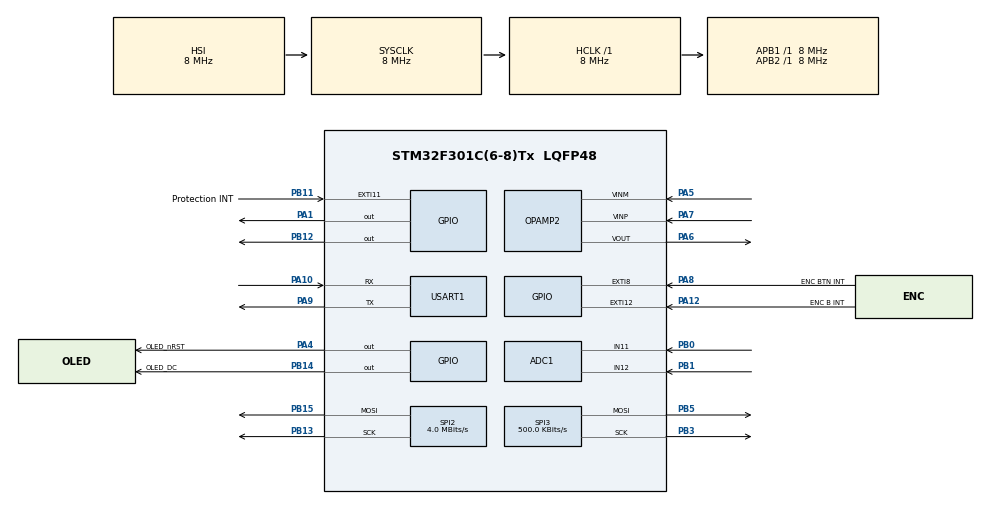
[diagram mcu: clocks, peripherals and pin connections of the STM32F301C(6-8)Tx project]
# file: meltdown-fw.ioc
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ADC1.Channel-0\#ChannelRegularConversion=ADC_CHANNEL_11
ADC1.NbrOfConversionFlag=1
ADC1.Offset-0\#ChannelRegularConversion=0
ADC1.OffsetNumber-0\#ChannelRegularConversion=ADC_OFFSET_NONE
ADC1.Rank-0\#ChannelRegularConversion=1
ADC1.SamplingTime-0\#ChannelRegularConversion=ADC_SAMPLETIME_1CYCLE_5
ADC1.SubFamily=STM32F301x8
ADC1.master=1
Mcu.Family=STM32F3
Mcu.Name=STM32F301C(6-8)Tx
Mcu.Package=LQFP48
NVIC.PriorityGroup=NVIC_PRIORITYGROUP_4
PA1.Signal=GPIO_Output
PA10.Mode=Asynchronous
PA10.Signal=USART1_RX
PA12.GPIO_Label=ENC B INT
PA12.Signal=GPXTI12
PA4.GPIO_Label=OLED_nRST
PA4.Signal=GPIO_Output
PA5.Mode=PGA Connected
PA5.Signal=OPAMP2_VINM
PA6.Mode=PGA Connected
PA6.Signal=OPAMP2_VOUT
PA7.Mode=PGA Connected
PA7.Signal=OPAMP2_VINP
PA8.GPIO_Label=ENC BTN INT
PA8.Signal=GPXTI8
PA9.Mode=Asynchronous
PA9.Signal=USART1_TX
PB0.Mode=IN11-Single-Ended
PB0.Signal=ADC1_IN11
PB1.Mode=IN12-Single-Ended
PB1.Signal=ADC1_IN12
PB11.GPIO_Label=Protection INT
PB11.Signal=GPXTI11
PB12.Signal=GPIO_Output
PB13.Mode=TX_Only_Simplex_Unidirect_Master
PB13.Signal=SPI2_SCK
PB14.GPIO_Label=OLED_DC
PB14.Signal=GPIO_Output
PB15.Mode=TX_Only_Simplex_Unidirect_Master
PB15.Signal=SPI2_MOSI
PB3.Mode=TX_Only_Simplex_Unidirect_Master
PB3.Signal=SPI3_SCK
PB5.Mode=TX_Only_Simplex_Unidirect_Master
PB5.Signal=SPI3_MOSI
PF0-OSC_IN.Mode=HSE-External-Oscillator
PF0-OSC_IN.Signal=RCC_OSC_IN
PF1-OSC_OUT.Mode=HSE-External-Oscillator
PF1-OSC_OUT.Signal=RCC_OSC_OUT
ProjectManager.HeapSize=0x200
ProjectManager.StackSize=0x400
ProjectManager.TargetToolchain=STM32CubeIDE
RCC.AHBFreq_Value=8000000
RCC.APB1Freq_Value=8000000
RCC.APB2Freq_Value=8000000
RCC.CortexFreq_Value=8000000
RCC.HSE_VALUE=8000000
RCC.HSI_VALUE=8000000
RCC.LSE_VALUE=32768
RCC.PLLMUL=RCC_PLL_MUL4
RCC.SYSCLKFreq_VALUE=8000000
SPI2.BaudRatePrescaler=SPI_BAUDRATEPRESCALER_2
SPI2.CalculateBaudRate=4.0 MBits/s
SPI2.DataSize=SPI_DATASIZE_8BIT
SPI2.Direction=SPI_DIRECTION_2LINES
SPI2.FirstBit=SPI_FIRSTBIT_MSB
SPI2.Mode=SPI_MODE_MASTER
SPI2.VirtualType=VM_MASTER
SPI3.BaudRatePrescaler=SPI_BAUDRATEPRESCALER_16
SPI3.CalculateBaudRate=500.0 KBits/s
SPI3.DataSize=SPI_DATASIZE_8BIT
SPI3.Direction=SPI_DIRECTION_2LINES
SPI3.FirstBit=SPI_FIRSTBIT_LSB
SPI3.Mode=SPI_MODE_MASTER
SPI3.VirtualType=VM_MASTER
USART1.VirtualMode-Asynchronous=VM_ASYNC
board=custom

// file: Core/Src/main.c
/* USER CODE BEGIN Header */
/**
  ******************************************************************************
  * @file           : main.c
  * @brief          : Main program body
  ******************************************************************************
  * @attention
  *
  * Copyright (c) 2023 STMicroelectronics.
  * All rights reserved.
  *
  * This software is licensed under terms that can be found in the LICENSE file
  * in the root directory of this software component.
  * If no LICENSE file comes with this software, it is provided AS-IS.
  *
  ******************************************************************************
  */
/* USER CODE END Header */
#include "main.h"

/* USER CODE BEGIN PD */
#define SPI_DC_PORT		(GPIOB)
#define SPI_DC_PIN		(GPIO_PIN_14)

#define SPI_RST_PORT	(GPIOA)
#define SPI_RST_PIN		(GPIO_PIN_4)
/* USER CODE END PD */

ADC_HandleTypeDef hadc1;

OPAMP_HandleTypeDef hopamp2;

SPI_HandleTypeDef hspi2;
SPI_HandleTypeDef hspi3;

UART_HandleTypeDef huart1;

/* USER CODE BEGIN PV */
unsigned char jc_logo[] = {
	0x00, 0x00, 0x00, 0x00, 0x00, 0x00, 0x00, 0x1f, 0xf8, 0x00, 0x00, 0x00, 0x00, 0x00, 0x00, 0x00, 0x00, 0x00, 0x00,
	0x00, 0x00, 0x00, 0x03, 0xff, 0xff, 0xc0, 0x00, 0x00, 0x00, 0x00, 0x00, 0x00, 0x00, 0x00, 0x00, 0x00, 0x00, 0x00,
	0x1f, 0xff, 0xff, 0xf0, 0x00, 0x00, 0x00, 0x00, 0x00, 0x00, 0x00, 0x00, 0x00, 0x00, 0x00, 0x00, 0x7f, 0xe0, 0x07,
	0xfe, 0x00, 0x00, 0x00, 0x00, 0x00, 0x00, 0x00, 0x00, 0x00, 0x00, 0x00, 0x00, 0xfe, 0x00, 0x00, 0x7f, 0x00, 0x00,
	0x00, 0x00, 0x00, 0x00, 0x00, 0x00, 0x00, 0x00, 0x00, 0x03, 0xf0, 0x00, 0x00, 0x0f, 0xc0, 0x00, 0x00, 0x00, 0x00,
	0x00, 0x00, 0x00, 0x00, 0x00, 0x00, 0x07, 0xc0, 0x00, 0x00, 0x03, 0xe0, 0x00, 0x00, 0x00, 0x00, 0x00, 0x00, 0x00,
	0x00, 0x00, 0x00, 0x1f, 0x80, 0x00, 0x00, 0x01, 0xf8, 0x00, 0x00, 0x00, 0x00, 0x00, 0x00, 0x00, 0x00, 0x00, 0x00,
	0x3e, 0x00, 0x00, 0x1f, 0x00, 0x7c, 0x00, 0x00, 0x00, 0x00, 0x00, 0x00, 0x00, 0x00, 0x00, 0x00, 0x7c, 0x00, 0x00,
	0x1f, 0x00, 0x3e, 0x00, 0x00, 0x00, 0x00, 0x00, 0x00, 0x00, 0x00, 0x00, 0x00, 0xf8, 0x00, 0x00, 0x1f, 0x00, 0x1f,
	0x00, 0x00, 0x00, 0x00, 0x00, 0x00, 0x00, 0x00, 0x00, 0x01, 0xf0, 0x00, 0x00, 0x1f, 0x00, 0x0f, 0x80, 0x00, 0x00,
	0x00, 0x00, 0x00, 0x00, 0x00, 0x00, 0x01, 0xe0, 0x00, 0x00, 0x1f, 0x00, 0x07, 0x80, 0x00, 0x00, 0x00, 0x00, 0x00,
	0x00, 0x00, 0x00, 0x03, 0xc0, 0x00, 0x00, 0x1f, 0x00, 0x03, 0xc0, 0x00, 0x00, 0x00, 0x00, 0x00, 0x00, 0x00, 0x00,
	0x07, 0x80, 0x00, 0x00, 0x1f, 0x00, 0x01, 0xe0, 0x00, 0x00, 0x00, 0x00, 0x00, 0x00, 0x00, 0x00, 0x07, 0x00, 0x00,
	0x00, 0x1f, 0x00, 0x00, 0xe0, 0x00, 0x00, 0x00, 0x00, 0x00, 0x00, 0x00, 0x00, 0x0f, 0x00, 0x00, 0x00, 0x1f, 0x00,
	0x00, 0xf0, 0x00, 0x00, 0x00, 0x00, 0x00, 0x00, 0x00, 0x00, 0x1e, 0x00, 0x00, 0x00, 0x1f, 0x00, 0x00, 0x78, 0x00,
	0x00, 0x00, 0x00, 0x00, 0x00, 0x00, 0x00, 0x1c, 0x00, 0x00, 0x00, 0x1f, 0x00, 0x00, 0x38, 0x00, 0x00, 0x00, 0x00,
	0x00, 0x00, 0x00, 0x00, 0x3c, 0x00, 0x00, 0x00, 0x1f, 0x00, 0x00, 0x38, 0x00, 0x00, 0x00, 0x00, 0x00, 0x00, 0x00,
	0x00, 0x38, 0x00, 0x00, 0x00, 0x1f, 0x00, 0x00, 0x3c, 0x00, 0x00, 0x00, 0x00, 0x00, 0x00, 0x00, 0x00, 0x38, 0x00,
	0x00, 0x00, 0x1f, 0x00, 0x00, 0x1c, 0x00, 0x00, 0x00, 0x00, 0x00, 0x00, 0x00, 0x00, 0x78, 0x00, 0x00, 0x00, 0x1e, 0x00, 0x00, 0x1e, 0x00, 0x00, 0x00, 0x00, 0x00, 0x00, 0x00, 0x00, 0x70, 0x00, 0x00, 0x00, 0x00, 0x00, 0x00, 0x0e, 0x00, 0x00, 0x00, 0x00, 0x00, 0x00, 0x00, 0x00, 0x70, 0x00, 0x00, 0x00, 0x00, 0x00, 0x00, 0x0e, 0x00, 0x00, 0x00, 0x00, 0x00, 0x00, 0x00, 0x00, 0x70, 0x00, 0x00, 0x1f, 0xff, 0xff, 0xff, 0x0e, 0x00, 0x00, 0x00, 0x00, 0x00, 0x00, 0x00, 0x00, 0x70, 0x00, 0x00, 0x3f, 0xff, 0xff, 0xff,
	0x0f, 0x00, 0x00, 0x00, 0x00, 0x00, 0x00, 0x00, 0x00, 0xe0, 0x00, 0x00, 0x7f, 0xff, 0xff, 0xff, 0x07, 0x00, 0x00, 0x00, 0x00, 0x00, 0x00, 0x00, 0x00, 0xe0, 0x00, 0x00, 0x7f, 0xff, 0xff, 0xff, 0x07, 0x00, 0x00, 0x00, 0x00, 0x00, 0x00, 0x00, 0x00, 0xe0, 0x00, 0x00, 0x7c, 0x00, 0x00, 0x00, 0x07, 0x00, 0x00, 0x00, 0x00, 0x00, 0x00, 0x00, 0x00, 0xe0, 0x00, 0x00, 0x78, 0x00, 0x00, 0x00, 0x07, 0x00, 0x00, 0x00, 0x00, 0x00, 0x00, 0x00, 0x00, 0xe0, 0xf8, 0x00, 0x78, 0x1f, 0x00, 0x00, 0x07, 0x00, 0x00, 0x00, 0x00, 0x00, 0x00, 0x00, 0x00, 0xe0, 0xf8, 0x00, 0x78, 0x1f, 0x00, 0x00, 0x07, 0x00, 0x00, 0x00, 0x00, 0x00, 0x00, 0x00, 0x00, 0xe0, 0xf8, 0x00, 0x00, 0x1f, 0x00, 0x00, 0x07, 0x00, 0x00, 0x00, 0x00, 0x00, 0x00, 0x00, 0x00, 0xe0, 0xf8, 0x00, 0x00, 0x3f, 0x00, 0x00, 0x07, 0x00, 0x00, 0x00, 0x00, 0x00, 0x00, 0x00, 0x00, 0xe0, 0xff, 0xff, 0xff, 0xfe, 0x00, 0x00, 0x07, 0x00, 0x00, 0x00, 0x00, 0x00, 0x00, 0x00, 0x00, 0xe0, 0x7f, 0xff, 0xff, 0xfe, 0x00, 0x00, 0x07, 0x00, 0x00, 0x00, 0x00, 0x00, 0x00, 0x00, 0x00, 0x70, 0x7f, 0xff, 0xff, 0xfc, 0x00, 0x00, 0x0f, 0x00, 0x00, 0x00, 0x00, 0x00, 0x00, 0x00, 0x00, 0x70, 0x3f, 0xff, 0xff, 0xf8, 0x00, 0x00, 0x0e, 0x00, 0x00, 0x00, 0x00, 0x00, 0x00, 0x00, 0x00,
	0x70, 0x07, 0xff, 0xff, 0xc0, 0x00, 0x00, 0x0e, 0x00, 0x00, 0x00, 0x00, 0x00, 0x00, 0x00, 0x00, 0x70, 0x00, 0x00, 0x00, 0x00, 0x00, 0x00, 0x0e, 0x00, 0x00, 0x00, 0x00, 0x00, 0x00, 0x00, 0x00, 0x78, 0x00, 0x00, 0x78, 0x00, 0x00, 0x00, 0x1e, 0x00, 0x00, 0x00, 0x00, 0x00, 0x00, 0x00, 0x00, 0x38, 0x00, 0x00, 0x78, 0x00, 0x00, 0x00, 0x1c, 0x00, 0x00, 0x00, 0x00, 0x00, 0x00, 0x00, 0x00, 0x38, 0x00, 0x00, 0x78, 0x00, 0x00, 0x00, 0x3c, 0x00, 0x00, 0x00, 0x00, 0x00, 0x00, 0x00, 0x00, 0x1c, 0x00, 0x00, 0x78, 0x00, 0x00, 0x00, 0x38, 0x00, 0x00, 0x00, 0x00, 0x00, 0x00, 0x00, 0x00, 0x1c, 0x00, 0x00, 0x78, 0x00, 0x00, 0x00, 0x38, 0x00, 0x00, 0x00, 0x00, 0x00, 0x00, 0x00, 0x00, 0x1e, 0x00, 0x00, 0x78, 0x00, 0x00, 0x00, 0x78, 0x00, 0x00, 0x00, 0x00, 0x00, 0x00, 0x00, 0x00, 0x0f, 0x00, 0x00, 0x78, 0x00, 0x00, 0x00, 0xf0, 0x00, 0x00, 0x00, 0x00, 0x00, 0x00, 0x00, 0x00, 0x07, 0x00, 0x00, 0x78, 0x00, 0x00, 0x00, 0xe0, 0x00, 0x00, 0x00, 0x00, 0x00, 0x00, 0x00, 0x00, 0x07, 0x80, 0x00, 0x78, 0x00, 0x00, 0x00, 0xe0, 0x00, 0x00, 0x00, 0x00, 0x00, 0x00, 0x00, 0x00, 0x03, 0xc0, 0x00, 0x78, 0x00, 0x00, 0x00, 0x00, 0x00, 0x00, 0x00, 0x00, 0x00, 0x00, 0x00, 0x00, 0x01, 0xe0, 0x00, 0x7f, 0xff, 0xff, 0xff, 0x00, 0x00,
	0x00, 0x00, 0x00, 0x00, 0x00, 0x00, 0x00, 0x01, 0xf0, 0x00, 0x7f, 0xff, 0xff, 0xff, 0x00, 0x00, 0x00, 0x00, 0x00, 0x00, 0x00, 0x00, 0x00, 0x00, 0xf8, 0x00, 0x3f, 0xff, 0xff, 0xff, 0x00, 0x00, 0x00, 0x00, 0x00, 0x00, 0x00, 0x00, 0x00, 0x00, 0x7c, 0x00, 0x3f, 0xff, 0xff, 0xff, 0x00, 0x00, 0x00, 0x00, 0x00, 0x00, 0x00, 0x00, 0x00, 0x00, 0x3e, 0x00, 0x0f, 0xff, 0xff, 0xff, 0x00, 0x00, 0x00, 0x00, 0x00, 0x00, 0x00, 0x00, 0x00, 0x00, 0x1f, 0x80, 0x00, 0x00, 0x00, 0x00, 0x00, 0x00, 0x00, 0x00, 0x00, 0x00, 0x00, 0x00, 0x00, 0x00, 0x07, 0xc0, 0x00, 0x00, 0x00, 0x00, 0x00, 0x00, 0x00, 0x00, 0x00, 0x00, 0x00, 0x00, 0x00, 0x00, 0x03, 0xf8, 0x00, 0x00, 0x1f, 0xc0, 0x00, 0x00, 0x00, 0x00, 0x00, 0x00, 0x00, 0x00, 0x00, 0x00, 0x00, 0xfe, 0x00, 0x00, 0x7f, 0x00, 0x00, 0x00, 0x00, 0x00, 0x00, 0x00, 0x00, 0x00, 0x00, 0x00, 0x00, 0x7f, 0xe0, 0x07, 0xfe, 0x00, 0x00, 0x00, 0x00, 0x00, 0x00, 0x00, 0x00, 0x00, 0x00, 0x00, 0x00, 0x0f, 0xff, 0xff, 0xf0, 0x00, 0x00, 0x00, 0x00, 0x00, 0x00, 0x00, 0x00, 0x00, 0x00, 0x00, 0x00, 0x03, 0xff, 0xff, 0xc0, 0x00, 0x00, 0x00, 0x00, 0x00, 0x00, 0x00, 0x00, 0x00, 0x00, 0x00, 0x00, 0x00, 0x3f, 0xfc, 0x00, 0x00, 0x00, 0x00, 0x00, 0x00, 0x00

};

void displayInit();
void clearDisplay(void);
void displayArray12864(const unsigned char arr[]);
void setRow(unsigned char yStart, unsigned char yEnd);
void setColumn(unsigned char xStart, unsigned char xEnd);

void spiWriteCmd(uint8_t val);
void spiWriteData(uint8_t val);
/* USER CODE END PV */

void SystemClock_Config(void);
static void MX_GPIO_Init(void);
static void MX_ADC1_Init(void);
static void MX_OPAMP2_Init(void);
static void MX_SPI2_Init(void);
static void MX_USART1_UART_Init(void);
static void MX_SPI3_Init(void);

int main(void)
{

  /* MCU Configuration--------------------------------------------------------*/

  /* Reset of all peripherals, Initializes the Flash interface and the Systick. */
  HAL_Init();

  /* Configure the system clock */
  SystemClock_Config();

  /* Initialize all configured peripherals */
  MX_GPIO_Init();
  MX_ADC1_Init();
  MX_OPAMP2_Init();
  MX_SPI2_Init();
  MX_USART1_UART_Init();
  MX_SPI3_Init();
  /* USER CODE BEGIN 2 */

  HAL_GPIO_WritePin(GPIOB, GPIO_PIN_12, GPIO_PIN_SET);
  displayInit();
  clearDisplay();

  HAL_Delay(100);

  displayArray12864(jc_logo);
  /* USER CODE END 2 */

  /* Infinite loop */
  while (1)
  {

    /* USER CODE BEGIN 3 */
	  HAL_GPIO_TogglePin(GPIOA, GPIO_PIN_1);
	  HAL_Delay(500);
  }
  /* USER CODE END 3 */
}

void SystemClock_Config(void)
{
  RCC_OscInitTypeDef RCC_OscInitStruct = {0};
  RCC_ClkInitTypeDef RCC_ClkInitStruct = {0};
  RCC_PeriphCLKInitTypeDef PeriphClkInit = {0};

  /** Initializes the RCC Oscillators according to the specified parameters
  * in the RCC_OscInitTypeDef structure.
  */
  RCC_OscInitStruct.OscillatorType = RCC_OSCILLATORTYPE_HSI;
  RCC_OscInitStruct.HSIState = RCC_HSI_ON;
  RCC_OscInitStruct.HSICalibrationValue = RCC_HSICALIBRATION_DEFAULT;
  RCC_OscInitStruct.PLL.PLLState = RCC_PLL_ON;
  RCC_OscInitStruct.PLL.PLLSource = RCC_PLLSOURCE_HSI;
  RCC_OscInitStruct.PLL.PLLMUL = RCC_PLL_MUL4;
  if (HAL_RCC_OscConfig(&RCC_OscInitStruct) != HAL_OK)
  {
    Error_Handler();
  }

  /** Initializes the CPU, AHB and APB buses clocks
  */
  RCC_ClkInitStruct.ClockType = RCC_CLOCKTYPE_HCLK|RCC_CLOCKTYPE_SYSCLK
                              |RCC_CLOCKTYPE_PCLK1|RCC_CLOCKTYPE_PCLK2;
  RCC_ClkInitStruct.SYSCLKSource = RCC_SYSCLKSOURCE_HSI;
  RCC_ClkInitStruct.AHBCLKDivider = RCC_SYSCLK_DIV1;
  RCC_ClkInitStruct.APB1CLKDivider = RCC_HCLK_DIV1;
  RCC_ClkInitStruct.APB2CLKDivider = RCC_HCLK_DIV1;

  if (HAL_RCC_ClockConfig(&RCC_ClkInitStruct, FLASH_LATENCY_0) != HAL_OK)
  {
    Error_Handler();
  }
  PeriphClkInit.PeriphClockSelection = RCC_PERIPHCLK_USART1|RCC_PERIPHCLK_ADC1;
  PeriphClkInit.Usart1ClockSelection = RCC_USART1CLKSOURCE_PCLK1;
  PeriphClkInit.Adc1ClockSelection = RCC_ADC1PLLCLK_DIV1;

  if (HAL_RCCEx_PeriphCLKConfig(&PeriphClkInit) != HAL_OK)
  {
    Error_Handler();
  }
}

static void MX_ADC1_Init(void)
{

  ADC_ChannelConfTypeDef sConfig = {0};

  /** Common config
  */
  hadc1.Instance = ADC1;
  hadc1.Init.ClockPrescaler = ADC_CLOCK_ASYNC_DIV1;
  hadc1.Init.Resolution = ADC_RESOLUTION_12B;
  hadc1.Init.ScanConvMode = ADC_SCAN_DISABLE;
  hadc1.Init.ContinuousConvMode = DISABLE;
  hadc1.Init.DiscontinuousConvMode = DISABLE;
  hadc1.Init.ExternalTrigConvEdge = ADC_EXTERNALTRIGCONVEDGE_NONE;
  hadc1.Init.ExternalTrigConv = ADC_SOFTWARE_START;
  hadc1.Init.DataAlign = ADC_DATAALIGN_RIGHT;
  hadc1.Init.NbrOfConversion = 1;
  hadc1.Init.DMAContinuousRequests = DISABLE;
  hadc1.Init.EOCSelection = ADC_EOC_SINGLE_CONV;
  hadc1.Init.LowPowerAutoWait = DISABLE;
  hadc1.Init.Overrun = ADC_OVR_DATA_OVERWRITTEN;
  if (HAL_ADC_Init(&hadc1) != HAL_OK)
  {
    Error_Handler();
  }

  /** Configure Regular Channel
  */
  sConfig.Channel = ADC_CHANNEL_11;
  sConfig.Rank = ADC_REGULAR_RANK_1;
  sConfig.SingleDiff = ADC_SINGLE_ENDED;
  sConfig.SamplingTime = ADC_SAMPLETIME_1CYCLE_5;
  sConfig.OffsetNumber = ADC_OFFSET_NONE;
  sConfig.Offset = 0;
  if (HAL_ADC_ConfigChannel(&hadc1, &sConfig) != HAL_OK)
  {
    Error_Handler();
  }

}

static void MX_OPAMP2_Init(void)
{

  hopamp2.Instance = OPAMP2;
  hopamp2.Init.Mode = OPAMP_PGA_MODE;
  hopamp2.Init.NonInvertingInput = OPAMP_NONINVERTINGINPUT_IO0;
  hopamp2.Init.TimerControlledMuxmode = OPAMP_TIMERCONTROLLEDMUXMODE_DISABLE;
  hopamp2.Init.PgaConnect = OPAMP_PGA_CONNECT_INVERTINGINPUT_IO1;
  hopamp2.Init.PgaGain = OPAMP_PGA_GAIN_2;
  hopamp2.Init.UserTrimming = OPAMP_TRIMMING_FACTORY;
  if (HAL_OPAMP_Init(&hopamp2) != HAL_OK)
  {
    Error_Handler();
  }

}

static void MX_SPI2_Init(void)
{

  /* SPI2 parameter configuration*/
  hspi2.Instance = SPI2;
  hspi2.Init.Mode = SPI_MODE_MASTER;
  hspi2.Init.Direction = SPI_DIRECTION_2LINES;
  hspi2.Init.DataSize = SPI_DATASIZE_8BIT;
  hspi2.Init.CLKPolarity = SPI_POLARITY_LOW;
  hspi2.Init.CLKPhase = SPI_PHASE_1EDGE;
  hspi2.Init.NSS = SPI_NSS_SOFT;
  hspi2.Init.BaudRatePrescaler = SPI_BAUDRATEPRESCALER_2;
  hspi2.Init.FirstBit = SPI_FIRSTBIT_MSB;
  hspi2.Init.TIMode = SPI_TIMODE_DISABLE;
  hspi2.Init.CRCCalculation = SPI_CRCCALCULATION_DISABLE;
  hspi2.Init.CRCPolynomial = 7;
  hspi2.Init.CRCLength = SPI_CRC_LENGTH_DATASIZE;
  hspi2.Init.NSSPMode = SPI_NSS_PULSE_ENABLE;
  if (HAL_SPI_Init(&hspi2) != HAL_OK)
  {
    Error_Handler();
  }

}

static void MX_SPI3_Init(void)
{

  /* SPI3 parameter configuration*/
  hspi3.Instance = SPI3;
  hspi3.Init.Mode = SPI_MODE_MASTER;
  hspi3.Init.Direction = SPI_DIRECTION_2LINES;
  hspi3.Init.DataSize = SPI_DATASIZE_8BIT;
  hspi3.Init.CLKPolarity = SPI_POLARITY_LOW;
  hspi3.Init.CLKPhase = SPI_PHASE_1EDGE;
  hspi3.Init.NSS = SPI_NSS_SOFT;
  hspi3.Init.BaudRatePrescaler = SPI_BAUDRATEPRESCALER_16;
  hspi3.Init.FirstBit = SPI_FIRSTBIT_LSB;
  hspi3.Init.TIMode = SPI_TIMODE_DISABLE;
  hspi3.Init.CRCCalculation = SPI_CRCCALCULATION_DISABLE;
  hspi3.Init.CRCPolynomial = 7;
  hspi3.Init.CRCLength = SPI_CRC_LENGTH_DATASIZE;
  hspi3.Init.NSSPMode = SPI_NSS_PULSE_ENABLE;
  if (HAL_SPI_Init(&hspi3) != HAL_OK)
  {
    Error_Handler();
  }

}

static void MX_USART1_UART_Init(void)
{

  huart1.Instance = USART1;
  huart1.Init.BaudRate = 38400;
  huart1.Init.WordLength = UART_WORDLENGTH_8B;
  huart1.Init.StopBits = UART_STOPBITS_1;
  huart1.Init.Parity = UART_PARITY_NONE;
  huart1.Init.Mode = UART_MODE_TX_RX;
  huart1.Init.HwFlowCtl = UART_HWCONTROL_NONE;
  huart1.Init.OverSampling = UART_OVERSAMPLING_16;
  huart1.Init.OneBitSampling = UART_ONE_BIT_SAMPLE_DISABLE;
  huart1.AdvancedInit.AdvFeatureInit = UART_ADVFEATURE_NO_INIT;
  if (HAL_UART_Init(&huart1) != HAL_OK)
  {
    Error_Handler();
  }

}

static void MX_GPIO_Init(void)
{
  GPIO_InitTypeDef GPIO_InitStruct = {0};

  /* GPIO Ports Clock Enable */
  __HAL_RCC_GPIOF_CLK_ENABLE();
  __HAL_RCC_GPIOA_CLK_ENABLE();
  __HAL_RCC_GPIOB_CLK_ENABLE();

  /*Configure GPIO pin Output Level */
  HAL_GPIO_WritePin(GPIOA, GPIO_PIN_1|OLED_nRST_Pin, GPIO_PIN_RESET);

  /*Configure GPIO pin Output Level */
  HAL_GPIO_WritePin(GPIOB, GPIO_PIN_12|OLED_DC_Pin, GPIO_PIN_RESET);

  /*Configure GPIO pins : PA1 OLED_nRST_Pin */
  GPIO_InitStruct.Pin = GPIO_PIN_1|OLED_nRST_Pin;
  GPIO_InitStruct.Mode = GPIO_MODE_OUTPUT_PP;
  GPIO_InitStruct.Pull = GPIO_NOPULL;
  GPIO_InitStruct.Speed = GPIO_SPEED_FREQ_LOW;
  HAL_GPIO_Init(GPIOA, &GPIO_InitStruct);

  /*Configure GPIO pin : Protection_INT_Pin */
  GPIO_InitStruct.Pin = Protection_INT_Pin;
  GPIO_InitStruct.Mode = GPIO_MODE_IT_RISING;
  GPIO_InitStruct.Pull = GPIO_NOPULL;
  HAL_GPIO_Init(Protection_INT_GPIO_Port, &GPIO_InitStruct);

  /*Configure GPIO pins : PB12 OLED_DC_Pin */
  GPIO_InitStruct.Pin = GPIO_PIN_12|OLED_DC_Pin;
  GPIO_InitStruct.Mode = GPIO_MODE_OUTPUT_PP;
  GPIO_InitStruct.Pull = GPIO_NOPULL;
  GPIO_InitStruct.Speed = GPIO_SPEED_FREQ_LOW;
  HAL_GPIO_Init(GPIOB, &GPIO_InitStruct);

  /*Configure GPIO pins : ENC_BTN_INT_Pin ENC_B_INT_Pin */
  GPIO_InitStruct.Pin = ENC_BTN_INT_Pin|ENC_B_INT_Pin;
  GPIO_InitStruct.Mode = GPIO_MODE_IT_RISING;
  GPIO_InitStruct.Pull = GPIO_NOPULL;
  HAL_GPIO_Init(GPIOA, &GPIO_InitStruct);

}

/* USER CODE BEGIN 4 */
void displayInit()
{
	HAL_GPIO_WritePin(SPI_RST_PORT, SPI_RST_PIN, GPIO_PIN_RESET);	// nRST = 0
	HAL_Delay(1);	// > 200us
	HAL_GPIO_WritePin(SPI_RST_PORT, SPI_RST_PIN, GPIO_PIN_SET);		// nRST = 1
	HAL_Delay(1);	// > 200us

	spiWriteCmd(0xAE);	// display off
	spiWriteCmd(0xB3);	// set clk div and osc freq
	spiWriteData(0x91);
	spiWriteCmd(0xCA);	//set MUX ratio
	spiWriteData(0x3F);
	spiWriteCmd(0xA2); 	//set offset
	spiWriteData(0x00);
	spiWriteCmd(0xAB); 	//function selection
	spiWriteData(0x01);
	spiWriteCmd(0xA0); 	//set re-map
	spiWriteData(0x16);
	spiWriteData(0x11);
	spiWriteCmd(0xC7); 	//master contrast current
	spiWriteData(0x0F);
	spiWriteCmd(0xC1); 	//set contrast current
	spiWriteData(0x9F);
	spiWriteCmd(0xB1); 	//set phase length
	spiWriteData(0xF2);
	spiWriteCmd(0xBB); 	//set pre-charge voltage
	spiWriteData(0x1F);
	spiWriteCmd(0xB4); 	//set VSL
	spiWriteData(0xA0);
	spiWriteData(0xFD);
	spiWriteCmd(0xBE); 	//set VCOMH
	spiWriteData(0x04);
	spiWriteCmd(0xA6); 	//set display mode
	spiWriteCmd(0xAF); 	//display ON
}

void clearDisplay(void)
{
	unsigned int i;
	setColumn(28,91); 	//set column (x-axis) start/end address
	setRow(0,63); 		//set row (y-axis) start/end address
	spiWriteCmd(0x5C);  //single byte command (0x5C) to initiate pixel data write to GDDRAM;
	for(i = 0; i < 4096; i++){ // ((91-28)+1)*((63-0)+1)
		spiWriteData(0x00);
		spiWriteData(0x00);
	}
}

void setColumn(unsigned char xStart, unsigned char xEnd)
{
	spiWriteCmd(0x15);		//set column (x-axis) start/end address
	spiWriteData(xStart); 	//column start; 28 is left-most column
	spiWriteData(xEnd); 	//column end; 91 is right-most column
}

void setRow(unsigned char yStart, unsigned char yEnd){
	spiWriteCmd(0x75); 		//set row (y-axis) start/end address
	spiWriteData(yStart); 	//row start; 0 is top row
	spiWriteData(yEnd); 	//row end; 63 is bottom row
}

void displayArray12864(const unsigned char arr[])
{
	//display 128x64 monochrome bitmap, horizontal pixel arrangement, 8-pixels per byte
	unsigned int i, j;
	setColumn(28,91); 	//set column (x-axis) start/end address
	setRow(0,63); 		//set row (y-axis) start/end address
	spiWriteCmd(0x5C); 	//single byte command (0x5C) to initiate pixel data write to GDDRAM;
	for(i=0;i<1024;i++){ //translate each byte/bit into pixel data
		for(j=0;j<8;j++){
			if(((arr[i]<<j)&0x80)==0x80){
				spiWriteData(0xFF);
			}
			else{
				spiWriteData(0x00);
			}
		}
	}
}

void spiWriteCmd(uint8_t val)
{
	HAL_GPIO_WritePin(GPIOB, GPIO_PIN_12, GPIO_PIN_RESET);
	HAL_GPIO_WritePin(SPI_DC_PORT, SPI_DC_PIN, GPIO_PIN_RESET);	// D/C = 0
	HAL_SPI_Transmit(&hspi2, &val, 1, 10);
	HAL_GPIO_WritePin(GPIOB, GPIO_PIN_12, GPIO_PIN_SET);
}

void spiWriteData(uint8_t val)
{
	HAL_GPIO_WritePin(GPIOB, GPIO_PIN_12, GPIO_PIN_RESET);
	HAL_GPIO_WritePin(SPI_DC_PORT, SPI_DC_PIN, GPIO_PIN_SET);	// D/C = 1
	HAL_SPI_Transmit(&hspi2, &val, 1, 10);
	HAL_GPIO_WritePin(GPIOB, GPIO_PIN_12, GPIO_PIN_SET);
}
/* USER CODE END 4 */

void Error_Handler(void)
{
  __disable_irq();
  while (1)
  {
  }
}
